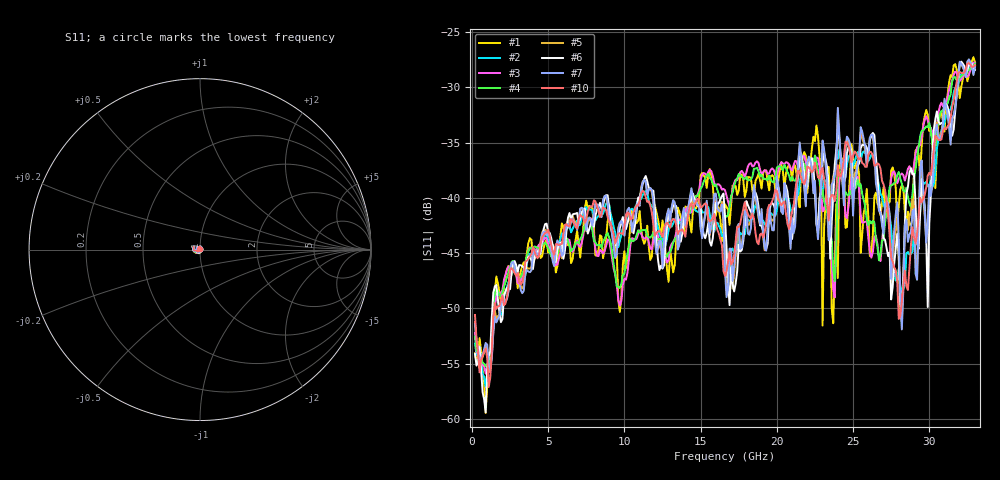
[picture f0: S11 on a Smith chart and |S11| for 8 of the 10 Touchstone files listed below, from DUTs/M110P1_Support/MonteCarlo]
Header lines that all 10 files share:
# GHZ S RI R 50
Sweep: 200 MHz to 33 GHz
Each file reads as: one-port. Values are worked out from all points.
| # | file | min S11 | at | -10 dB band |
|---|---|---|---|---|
| 1 | M110P1_81.s2p | -59.5 dB | 900 MHz | over 32.8 GHz wide |
| 2 | M110P1_82.s2p | -57.1 dB | 900 MHz | over 32.8 GHz wide |
| 3 | M110P1_87.s2p | -55.9 dB | 900 MHz | over 32.8 GHz wide |
| 4 | M110P1_88.s2p | -55.2 dB | 900 MHz | over 32.8 GHz wide |
| 5 | M110P1_90.s2p | -55.8 dB | 1.1 GHz | over 32.8 GHz wide |
| 6 | M110P1_91.s2p | -59.4 dB | 900 MHz | over 32.8 GHz wide |
| 7 | M110P1_93.s2p | -55.6 dB | 1.2 GHz | over 32.8 GHz wide |
| 8 | M110P1_97.s2p | -55.8 dB | 1.1 GHz | over 32.8 GHz wide |
| 9 | M110P1_98.s2p | -56.9 dB | 1.1 GHz | over 32.8 GHz wide |
| 10 | M110P1_99.s2p | -57.1 dB | 1.1 GHz | over 32.8 GHz wide |
